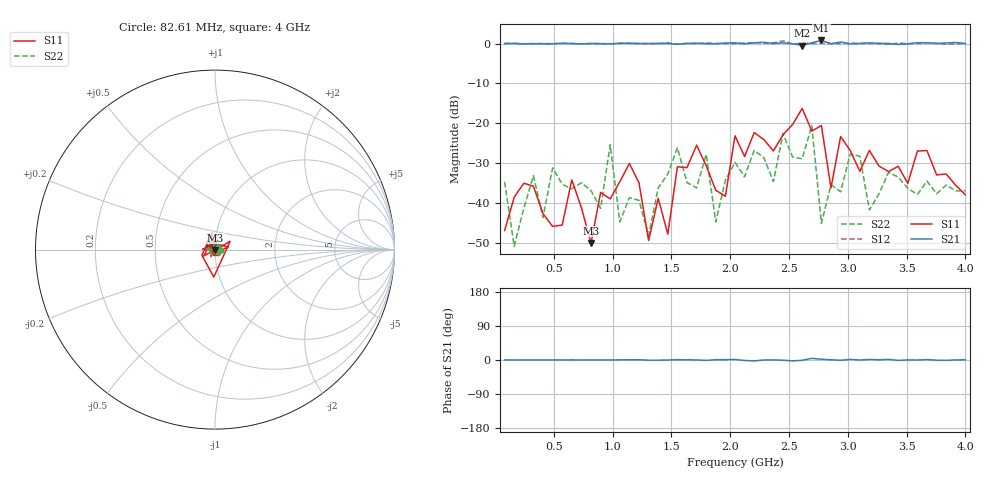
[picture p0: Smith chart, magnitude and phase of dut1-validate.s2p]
!Created with skrf (http://scikit-rf.org).
# GHz S DB R 50.0
!freq dBS11 angS11 dBS21 angS21 dBS12 angS12 dBS22 angS22
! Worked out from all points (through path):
!   49 points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, 82.61 MHz to 4 GHz, reference 50 ohm
!   highest |S21| = 0.76 dB at 2.776 GHz (marker M1); lowest = -0.5 dB at 2.613 GHz (marker M2)
!   lowest |S11| = -50.1 dB at 817.1 MHz (marker M3), VSWR 1.01, Z = 50.3 - j0.161 ohm
!   |S11| at or under -10 dB: start of sweep to end of sweep
!   |S22| runs from -50.9 to -20.6 dB; largest |S21 - S12| = 0.1
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0.08261224  -47.00 -7.3  -0.05 0.1  0.06 0.1  -34.78 -9.7
0.1642245  -38.61 -101.7  0.02 -0.0  0.05 -0.2  -50.92 -176.2
0.327449  -35.86 -100.7  -0.06 0.1  -0.01 0.1  -33.22 51.6
0.7355102  -41.25 174.8  -0.09 -0.1  -0.09 -0.1  -34.99 169.4
0.8171224  -50.15 -31.0  0.02 0.3  -0.05 0.2  -36.96 -135.3
0.9803469  -39.03 -128.8  -0.08 0.1  -0.12 -0.9  -25.44 -17.5
1.061959  -34.73 -159.9  0.04 0.4  0.12 0.2  -44.82 -84.8
1.143571  -30.16 -147.6  0.09 0.6  0.02 -0.9  -38.73 49.8
1.306796  -49.51 126.4  -0.00 -0.5  -0.04 -0.1  -48.30 108.0
1.388408  -38.90 42.1  0.04 -0.5  -0.06 0.6  -36.25 -169.9
1.47002  -47.90 -72.9  0.03 -0.2  0.18 0.1  -32.84 128.3
1.551633  -30.99 -33.9  -0.21 0.9  -0.15 -0.0  -26.21 -6.5
1.796469  -30.73 60.5  -0.06 -1.0  0.17 -1.0  -27.86 61.9
1.878082  -36.88 -109.9  -0.06 0.7  0.00 0.4  -44.82 56.5
2.041306  -23.18 177.1  0.16 1.5  -0.04 0.2  -29.87 -119.4
2.612592  -16.30 -92.4  -0.51 -0.7  0.07 -0.3  -28.97 -174.1
2.694204  -21.99 -157.2  0.18 4.3  -0.03 1.0  -20.63 112.6
2.775816  -20.61 99.9  0.76 2.0  0.08 -1.2  -45.18 8.5
2.857429  -36.26 -135.2  -0.05 0.6  -0.05 1.4  -35.48 -124.2
2.939041  -23.39 90.9  0.39 -0.7  -0.01 -1.2  -37.25 -115.3
3.428714  -30.84 -61.8  -0.24 -1.0  0.09 2.0  -33.56 167.8
4  -38.00 -73.1  -0.01 0.5  -0.03 -0.6  -37.00 -9.5
